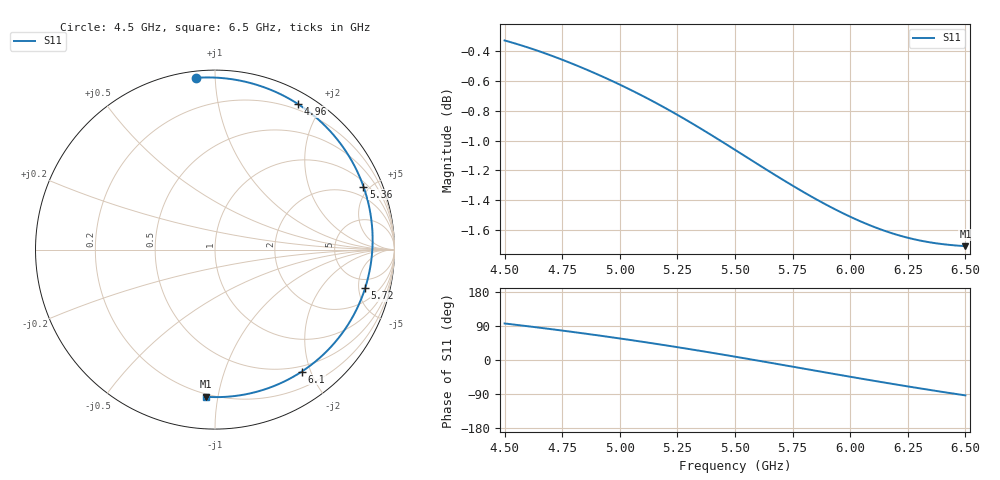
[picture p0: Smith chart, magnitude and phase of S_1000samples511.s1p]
! TOUCHSTONE file generated by CST MICROWAVE STUDIO
! Date and time: Fri Oct 28 10:22:18 2022
! Project name: L.cst
! Parameters = {Di=1.27; Epsilon_r=1.56; InnerDiameter=1.27; Length=2; Lf=10; Lg=60; OuterConductorThickness=0.2921; OuterDiameter=3.6; Wf=3; Wp=41.2; de=1.5; df=6.8; g=0.8; gx=4.60432; gy=3.7609; h=2.34; hf=1.524; px=11.079; py=9.62008; w=9.7; wx=6.47464; wy=5.85918}
! Header version: 2018
! Port assignment regex: !\s*Touchstone port\s*([0-9]+)\s*=\s*(CST MWS port|CST DS port)\s*([0-9]+|Zmin|Zmax)\s*\(\"(.*)\"\)(\s*mode\s*([0-9]+))?.*
! Touchstone port assignment:
! Touchstone port 1 = CST MWS port 1 ("")
# GHz S DB R 50
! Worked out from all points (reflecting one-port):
!   101 points, 4.5 GHz to 6.5 GHz, reference 50 ohm
!   lowest |S11| = -1.7 dB at 6.5 GHz (marker M1), VSWR 10.20, Z = 9.18 - j46.3 ohm
!   phase of S11 starts at 96 deg and turns -190 deg over the sweep
!   S11 on the Smith chart (normalised r, x): 4.5 GHz: 0.03, +0.89; 4.96 GHz: 0.14, +1.71; 5.36 GHz: 1.25, +4.58; 5.72 GHz: 3.49, -5.89; 6.1 GHz: 0.42, -1.87; 6.5 GHz: 0.18, -0.93
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4.5  -0.33 96.4
4.58  -0.37 90.6
4.64  -0.40 86.1
4.76  -0.46 76.8
4.86  -0.53 68.8
4.96  -0.60 60.3
5  -0.63 56.8
5.12  -0.72 46.1
5.18  -0.77 40.5
5.26  -0.84 32.9
5.36  -0.93 23.0
5.44  -1.00 14.9
5.5  -1.06 8.8
5.6  -1.16 -1.7
5.66  -1.22 -8.0
5.72  -1.27 -14.4
5.76  -1.31 -18.7
5.82  -1.37 -25.1
5.88  -1.42 -31.5
5.94  -1.47 -37.8
6  -1.51 -44.2
6.1  -1.58 -54.6
6.18  -1.62 -62.7
6.26  -1.66 -70.7
6.32  -1.68 -76.5
6.38  -1.69 -82.3
6.44  -1.70 -87.9
6.5  -1.71 -93.4
